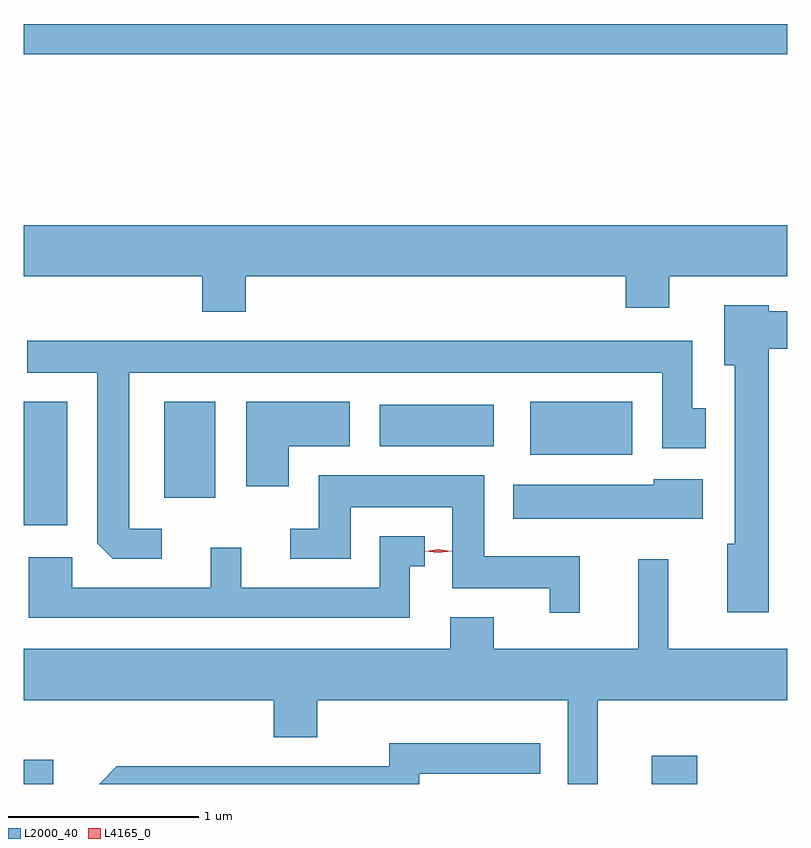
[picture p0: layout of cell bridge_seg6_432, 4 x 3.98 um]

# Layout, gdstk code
import gdstk
lib = gdstk.Library(unit=1e-6, precision=1e-09)
def R(c, l, rs):  # rectangles x0, y0, x1, y1
    for r in rs: c.add(gdstk.rectangle(r[:2], r[2:], *l))
def P(c, l, *ps):  # polygons
    for p in ps: c.add(gdstk.Polygon(p, *l))
L2000_40 = (2000, 40)
L4165_0 = (4165, 0)

bridge_seg6_432 = lib.new_cell('bridge_seg6_432')
R(bridge_seg6_432, L2000_40, [(807.296,1656.156,807.449,1656.283), (810.586,1656.156,810.824,1656.304), (807.296,1657.511,807.524,1658.159), (808.031,1657.656,808.299,1658.159), (809.951,1657.881,810.484,1658.159), (809.161,1657.926,809.759,1658.144), (807.296,1659.981,811.296,1660.139)])
P(bridge_seg6_432, L2000_40, [(808.459,1658.816),(810.451,1658.816),(810.451,1658.651),(810.679,1658.651),(810.679,1658.816),(811.296,1658.816),(811.296,1659.084),(807.296,1659.084),(807.296,1658.816),(808.231,1658.816),(808.231,1658.631),(808.459,1658.631)],
  [(811.199,1658.436),(811.296,1658.436),(811.296,1658.634),(811.199,1658.634),(811.199,1658.664),(810.966,1658.664),(810.966,1658.351),(811.021,1658.351),(811.021,1657.414),(810.981,1657.414),(810.981,1657.056),(811.199,1657.056)],
  [(808.018,1657.494),(807.849,1657.494),(807.849,1658.311),(810.641,1658.311),(810.641,1657.916),(810.869,1657.916),(810.869,1658.124),(810.799,1658.124),(810.799,1658.479),(807.313,1658.479),(807.313,1658.311),(807.681,1658.311),(807.681,1657.417),(807.762,1657.336),(808.018,1657.336)],
  [(808.684,1657.926),(809.004,1657.926),(809.004,1658.159),(808.461,1658.159),(808.461,1657.716),(808.684,1657.716)],
  [(810.209,1657.349),(809.709,1657.349),(809.709,1657.774),(808.841,1657.774),(808.841,1657.494),(808.693,1657.494),(808.693,1657.336),(809.009,1657.336),(809.009,1657.606),(809.541,1657.606),(809.541,1657.181),(810.051,1657.181),(810.051,1657.053),(810.209,1657.053)],
  [(810.854,1657.754),(810.596,1657.754),(810.596,1657.724),(809.861,1657.724),(809.861,1657.546),(810.854,1657.546)],
  [(809.319,1657.296),(809.398,1657.296),(809.398,1657.454),(809.161,1657.454),(809.161,1657.184),(808.434,1657.184),(808.434,1657.393),(808.276,1657.393),(808.276,1657.184),(807.549,1657.184),(807.549,1657.344),(807.321,1657.344),(807.321,1657.026),(809.319,1657.026)],
  [(810.304,1656.596),(811.296,1656.596),(811.296,1656.864),(810.674,1656.864),(810.674,1657.333),(810.516,1657.333),(810.516,1656.864),(809.759,1656.864),(809.759,1657.029),(809.531,1657.029),(809.531,1656.864),(807.296,1656.864),(807.296,1656.596),(808.606,1656.596),(808.606,1656.401),(808.834,1656.401),(808.834,1656.596),(810.146,1656.596),(810.146,1656.156),(810.304,1656.156)],
  [(809.369,1656.211),(810.003,1656.211),(810.003,1656.369),(809.211,1656.369),(809.211,1656.249),(807.784,1656.249),(807.69,1656.156),(809.369,1656.156)])
P(bridge_seg6_432, L4165_0, [(809.468,1657.367),(809.399,1657.376),(809.399,1657.376),(809.399,1657.377),(809.468,1657.387),(809.538,1657.377),(809.538,1657.377),(809.538,1657.376)])

lib.write_gds('bridge_seg6_432.gds')
